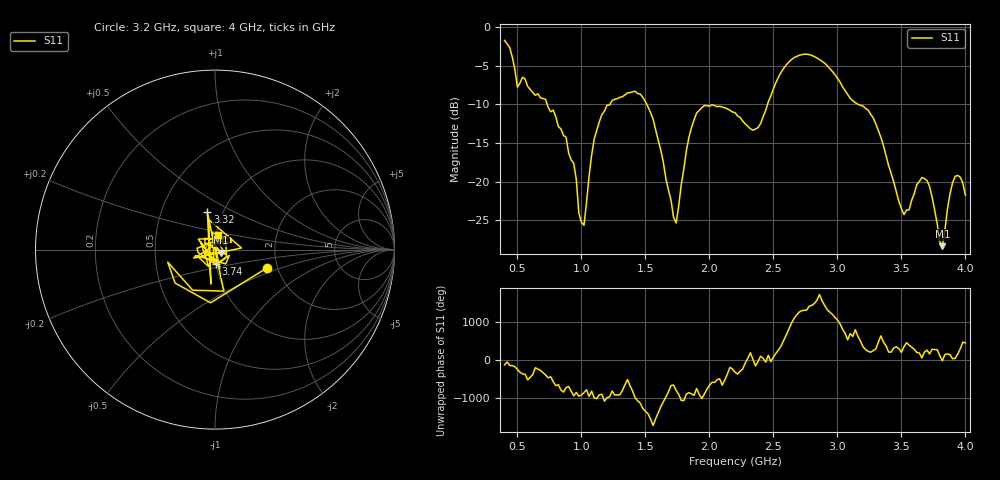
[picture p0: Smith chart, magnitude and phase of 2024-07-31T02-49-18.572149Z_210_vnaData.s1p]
!Created with skrf (http://scikit-rf.org).
# Hz S RI R 50.0
!freq ReS11 ImS11
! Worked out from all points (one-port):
!   181 points, 400 MHz to 4 GHz, reference 50 ohm
!   lowest |S11| = -28.3 dB at 3.82 GHz (marker M1), VSWR 1.08, Z = 53.5 - j1.87 ohm
!   |S11| at or under -10 dB: 732.4 MHz to 1.223 GHz (490.8 MHz wide, 50.2 % of centre); 1.51 GHz to 2.454 GHz (944.1 MHz wide, 47.6 % of centre); 3.16 GHz to end of sweep
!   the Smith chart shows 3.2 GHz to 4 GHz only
!   S11 on the Smith chart (normalised r, x): 3.2 GHz: 1.77, -0.39; 3.32 GHz: 0.84, +0.37; 3.74 GHz: 1.00, -0.16; 4 GHz: 1.02, +0.16
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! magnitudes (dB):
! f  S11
! 400 MHz  -1.7
! 500 MHz  -7.8
! 720 MHz  -9.4
! 860 MHz  -14.0
! 940 MHz  -17.6
! 980 MHz  -24.0
! 1.02 GHz  -25.6
! 1.1 GHz  -14.5
! 1.3 GHz  -9.1
! 1.5 GHz  -9.7
! 1.72 GHz  -24.6
! 1.76 GHz  -23.2
! 1.84 GHz  -14.3
! 1.9 GHz  -11.1
! 2.2 GHz  -11.1
! 2.38 GHz  -13.0
! 2.66 GHz  -4.0
! 2.88 GHz  -4.4
! 3.1 GHz  -9.2
! 3.2 GHz  -10.2
! 3.32 GHz  -13.4
! 3.5 GHz  -23.5
! 3.56 GHz  -23.6
! 3.66 GHz  -19.4
! 3.74 GHz  -22.0
! 3.82 GHz  -28.3
! 3.92 GHz  -19.3
! 4 GHz  -21.7
